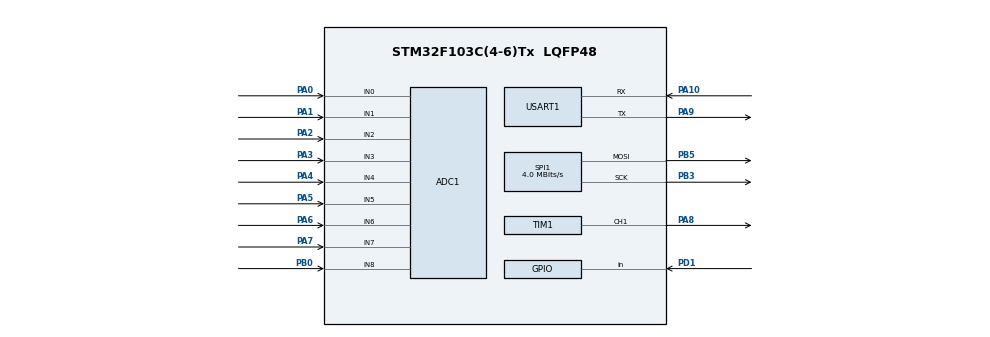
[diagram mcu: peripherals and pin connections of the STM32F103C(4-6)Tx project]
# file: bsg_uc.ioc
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ADC1.Channel-0\#ChannelRegularConversion=ADC_CHANNEL_0
ADC1.Channel-1\#ChannelRegularConversion=ADC_CHANNEL_1
ADC1.Channel-2\#ChannelRegularConversion=ADC_CHANNEL_2
ADC1.Channel-3\#ChannelRegularConversion=ADC_CHANNEL_3
ADC1.Channel-4\#ChannelRegularConversion=ADC_CHANNEL_4
ADC1.Channel-5\#ChannelRegularConversion=ADC_CHANNEL_5
ADC1.Channel-6\#ChannelRegularConversion=ADC_CHANNEL_6
ADC1.Channel-7\#ChannelRegularConversion=ADC_CHANNEL_7
ADC1.ContinuousConvMode=ENABLE
ADC1.NbrOfConversion=8
ADC1.NbrOfConversionFlag=1
ADC1.Rank-0\#ChannelRegularConversion=1
ADC1.Rank-1\#ChannelRegularConversion=2
ADC1.Rank-2\#ChannelRegularConversion=3
ADC1.Rank-3\#ChannelRegularConversion=4
ADC1.Rank-4\#ChannelRegularConversion=5
ADC1.Rank-5\#ChannelRegularConversion=6
ADC1.Rank-6\#ChannelRegularConversion=7
ADC1.Rank-7\#ChannelRegularConversion=8
ADC1.SamplingTime-0\#ChannelRegularConversion=ADC_SAMPLETIME_71CYCLES_5
ADC1.SamplingTime-1\#ChannelRegularConversion=ADC_SAMPLETIME_71CYCLES_5
ADC1.SamplingTime-2\#ChannelRegularConversion=ADC_SAMPLETIME_71CYCLES_5
ADC1.SamplingTime-3\#ChannelRegularConversion=ADC_SAMPLETIME_71CYCLES_5
ADC1.SamplingTime-4\#ChannelRegularConversion=ADC_SAMPLETIME_71CYCLES_5
ADC1.SamplingTime-5\#ChannelRegularConversion=ADC_SAMPLETIME_71CYCLES_5
ADC1.SamplingTime-6\#ChannelRegularConversion=ADC_SAMPLETIME_71CYCLES_5
ADC1.SamplingTime-7\#ChannelRegularConversion=ADC_SAMPLETIME_71CYCLES_5
ADC1.master=1
Dma.ADC1.0.Direction=DMA_PERIPH_TO_MEMORY
Dma.ADC1.0.Instance=DMA1_Channel1
Dma.ADC1.0.MemDataAlignment=DMA_MDATAALIGN_HALFWORD
Dma.ADC1.0.MemInc=DMA_MINC_ENABLE
Dma.ADC1.0.Mode=DMA_NORMAL
Dma.ADC1.0.PeriphDataAlignment=DMA_PDATAALIGN_HALFWORD
Dma.ADC1.0.PeriphInc=DMA_PINC_DISABLE
Dma.ADC1.0.Priority=DMA_PRIORITY_LOW
Dma.Request0=ADC1
Mcu.Family=STM32F1
Mcu.Name=STM32F103C(4-6)Tx
Mcu.Package=LQFP48
NVIC.DMA1_Channel1_IRQn=true\:0\:0\:false\:false\:true\:false\:true
NVIC.PriorityGroup=NVIC_PRIORITYGROUP_4
PA0-WKUP.Signal=ADCx_IN0
PA1.Signal=ADCx_IN1
PA10.Mode=Asynchronous
PA10.Signal=USART1_RX
PA13.Mode=Serial_Wire
PA13.Signal=SYS_JTMS-SWDIO
PA14.Mode=Serial_Wire
PA14.Signal=SYS_JTCK-SWCLK
PA2.Signal=ADCx_IN2
PA3.Signal=ADCx_IN3
PA4.Signal=ADCx_IN4
PA5.Signal=ADCx_IN5
PA6.Signal=ADCx_IN6
PA7.Signal=ADCx_IN7
PA8.Signal=S_TIM1_CH1
PA9.Mode=Asynchronous
PA9.Signal=USART1_TX
PB0.Signal=ADCx_IN8
PB3.Mode=TX_Only_Simplex_Unidirect_Master
PB3.Signal=SPI1_SCK
PB5.Mode=TX_Only_Simplex_Unidirect_Master
PB5.Signal=SPI1_MOSI
PD1-OSC_OUT.Signal=GPIO_Input
ProjectManager.HeapSize=0x200
ProjectManager.StackSize=0x400
ProjectManager.TargetToolchain=STM32CubeIDE
RCC.APB1Freq_Value=8000000
RCC.APB2Freq_Value=8000000
SH.ADCx_IN0.0=ADC1_IN0,IN0
SH.ADCx_IN1.0=ADC1_IN1,IN1
SH.ADCx_IN2.0=ADC1_IN2,IN2
SH.ADCx_IN3.0=ADC1_IN3,IN3
SH.ADCx_IN4.0=ADC1_IN4,IN4
SH.ADCx_IN5.0=ADC1_IN5,IN5
SH.ADCx_IN6.0=ADC1_IN6,IN6
SH.ADCx_IN7.0=ADC1_IN7,IN7
SH.ADCx_IN8.0=ADC1_IN8,IN8
SH.S_TIM1_CH1.0=TIM1_CH1,Output Compare1 CH1
SPI1.CalculateBaudRate=4.0 MBits/s
SPI1.Direction=SPI_DIRECTION_2LINES
SPI1.Mode=SPI_MODE_MASTER
SPI1.VirtualType=VM_MASTER
TIM1.Channel-Output\ Compare1\ CH1=TIM_CHANNEL_1
USART1.VirtualMode=VM_ASYNC
board=custom

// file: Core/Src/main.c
/* USER CODE BEGIN Header */
/**
  ******************************************************************************
  * @file           : main.c
  * @brief          : Main program body
  ******************************************************************************
  * @attention
  *
  * <h2><center>&copy; Copyright (c) 2021 STMicroelectronics.
  * All rights reserved.</center></h2>
  *
  * This software component is licensed by ST under BSD 3-Clause license,
  * the "License"; You may not use this file except in compliance with the
  * License. You may obtain a copy of the License at:
  *                        opensource.org/licenses/BSD-3-Clause
  *
  ******************************************************************************
  */
/* USER CODE END Header */
#include "main.h"
#include "adc.h"
#include "dma.h"
#include "spi.h"
#include "tim.h"
#include "usart.h"
#include "gpio.h"

/* USER CODE BEGIN Includes */
#include "board/board.h"

/* USER CODE END Includes */

/* USER CODE BEGIN PTD */
TIM_HandleTypeDef tim2;
/* USER CODE END PTD */

void SystemClock_Config(void);
/* USER CODE BEGIN PFP */
void send_char(char c)
{
	HAL_UART_Transmit(&huart1, (uint8_t*)&c, 1, 1000);
}

int __io_putchar(int ch)
{
	send_char(ch);
	return ch;
}
/* USER CODE END PFP */

/* USER CODE BEGIN 0 */
void TIM2_IRQHandler(void)
{
  HAL_TIM_IRQHandler(&tim2);
}

void HAL_TIM_PeriodElapsedCallback(TIM_HandleTypeDef *htim)
{
	HAL_GPIO_TogglePin(GPIOA, GPIO_PIN_6);
	HAL_GPIO_TogglePin(GPIOA, GPIO_PIN_7);
	HAL_GPIO_TogglePin(GPIOB, GPIO_PIN_0);
	HAL_GPIO_TogglePin(GPIOB, GPIO_PIN_1);
}
/* USER CODE END 0 */

int main(void)
{
  /* USER CODE BEGIN 1 */

	SystemCoreClock = 8000000;
  /* USER CODE END 1 */

  /* MCU Configuration--------------------------------------------------------*/

  /* Reset of all peripherals, Initializes the Flash interface and the Systick. */
  HAL_Init();

  /* USER CODE BEGIN Init */
  __HAL_RCC_TIM2_CLK_ENABLE();
  board_init();
  /* USER CODE END Init */

  /* Configure the system clock */
  SystemClock_Config();

  /* USER CODE BEGIN SysInit */

  tim2.Instance = TIM2;
  tim2.Init.Period = 65535;
  tim2.Init.Prescaler = 8000 - 1;
  tim2.Init.ClockDivision = 0;
  tim2.Init.CounterMode = TIM_COUNTERMODE_UP;
  tim2.Init.RepetitionCounter = 0;
  tim2.Init.AutoReloadPreload = TIM_AUTORELOAD_PRELOAD_DISABLE;
  HAL_TIM_Base_Init(&tim2);

  /* USER CODE END SysInit */

  /* Initialize all configured peripherals */
  MX_GPIO_Init();
  MX_ADC1_Init();
  MX_TIM1_Init();
  MX_DMA_Init();
  MX_USART1_UART_Init();
  MX_SPI1_Init();

  /* Infinite loop */
  /* USER CODE BEGIN WHILE */
  board_loop();

    /* USER CODE END WHILE */

}

void SystemClock_Config(void)
{
  RCC_OscInitTypeDef RCC_OscInitStruct = {0};
  RCC_ClkInitTypeDef RCC_ClkInitStruct = {0};
  RCC_PeriphCLKInitTypeDef PeriphClkInit = {0};

  /** Initializes the RCC Oscillators according to the specified parameters
  * in the RCC_OscInitTypeDef structure.
  */
  RCC_OscInitStruct.OscillatorType = RCC_OSCILLATORTYPE_HSI;
  RCC_OscInitStruct.HSIState = RCC_HSI_ON;
  RCC_OscInitStruct.HSICalibrationValue = RCC_HSICALIBRATION_DEFAULT;
  RCC_OscInitStruct.PLL.PLLState = RCC_PLL_NONE;
  if (HAL_RCC_OscConfig(&RCC_OscInitStruct) != HAL_OK)
  {
    Error_Handler();
  }
  /** Initializes the CPU, AHB and APB buses clocks
  */
  RCC_ClkInitStruct.ClockType = RCC_CLOCKTYPE_HCLK|RCC_CLOCKTYPE_SYSCLK
                              |RCC_CLOCKTYPE_PCLK1|RCC_CLOCKTYPE_PCLK2;
  RCC_ClkInitStruct.SYSCLKSource = RCC_SYSCLKSOURCE_HSI;
  RCC_ClkInitStruct.AHBCLKDivider = RCC_SYSCLK_DIV1;
  RCC_ClkInitStruct.APB1CLKDivider = RCC_HCLK_DIV1;
  RCC_ClkInitStruct.APB2CLKDivider = RCC_HCLK_DIV1;

  if (HAL_RCC_ClockConfig(&RCC_ClkInitStruct, FLASH_LATENCY_0) != HAL_OK)
  {
    Error_Handler();
  }
  PeriphClkInit.PeriphClockSelection = RCC_PERIPHCLK_ADC;
  PeriphClkInit.AdcClockSelection = RCC_ADCPCLK2_DIV2;
  if (HAL_RCCEx_PeriphCLKConfig(&PeriphClkInit) != HAL_OK)
  {
    Error_Handler();
  }
}

void Error_Handler(void)
{
  __disable_irq();
  while (1)
  {
  }
}

/************************ (C) COPYRIGHT STMicroelectronics *****END OF FILE****/
